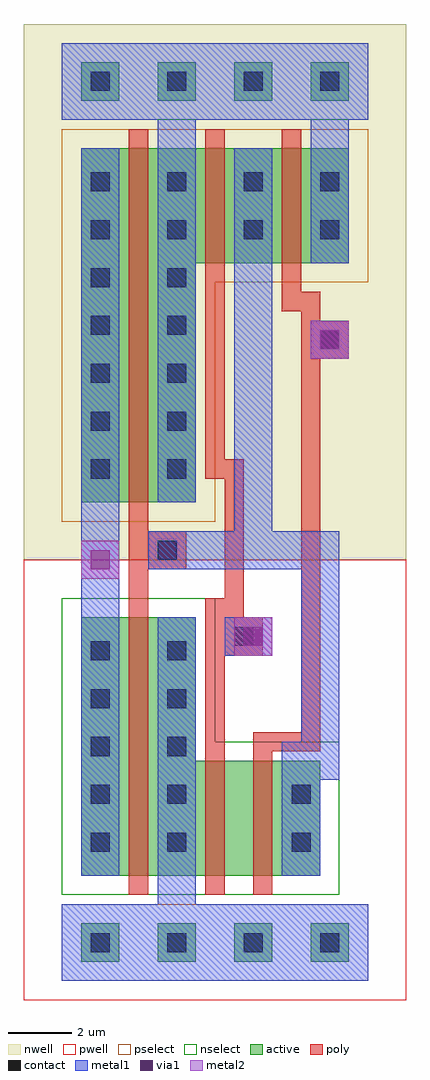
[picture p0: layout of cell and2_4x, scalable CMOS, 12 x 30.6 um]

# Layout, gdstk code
import gdstk
lib = gdstk.Library(unit=1e-6, precision=1e-09)
def R(c, l, rs):  # rectangles x0, y0, x1, y1
    for r in rs: c.add(gdstk.rectangle(r[:2], r[2:], *l))
def A(c, l, x, y, w, h, nx, ny, dx, dy):  # array of equal rectangles
    R(c, l, [(x+i*dx, y+j*dy, x+i*dx+w, y+j*dy+h) for i in range(nx) for j in range(ny)])
contact = (25, 0)
pwell = (41, 0)
nwell = (42, 0)
active = (43, 0)
pselect = (44, 0)
nselect = (45, 0)
poly = (46, 0)
metal1 = (49, 0)
via1 = (50, 0)
metal2 = (51, 0)

and2_4x = lib.new_cell('and2_4x')
A(and2_4x, contact, 0.3, -0.3, 0.6, 0.6, 4, 2, 2.4, 22.35)
A(and2_4x, contact, 0.3, 2.85, 0.6, 0.6, 1, 5, 0, 1.5)
A(and2_4x, contact, 2.7, 2.85, 0.6, 0.6, 1, 5, 0, 1.5)
A(and2_4x, contact, 0.3, 14.55, 0.6, 0.6, 1, 5, 0, 1.5)
A(and2_4x, contact, 2.7, 14.55, 0.6, 0.6, 1, 5, 0, 1.5)
A(and2_4x, contact, 0.3, 23.55, 0.6, 0.6, 4, 2, 2.4, 3.15)
R(and2_4x, contact, [(6.6,2.85,7.2,3.45), (6.6,4.35,7.2,4.95), (4.8,9.3,5.4,9.9), (2.4,12,3,12.6), (7.5,18.6,8.1,19.2)])
A(and2_4x, pwell, -0.9, -1.5, 3, 3, 4, 1, 2.4, 0)
R(and2_4x, pwell, [(-1.8,-1.8,10.2,12), (-1.8,0.3,3,12), (-1.2,0.3,4.8,12), (0.6,0.3,5.4,12), (1.2,0.3,7.2,7.5), (2.7,0.3,8.7,7.5), (4.5,0.3,9.3,7.5), (0.75,0.9,5.325,5.4), (4.575,1.35,9.15,5.85), (2.325,1.95,7.575,6.45), (0.675,4.35,5.25,8.85), (-1.65,4.65,2.925,9.15)])
A(and2_4x, nwell, -0.9, 25.5, 3, 3, 4, 1, 2.4, 0)
R(and2_4x, nwell, [(-1.8,12,3,26.7), (-1.8,12,10.2,28.8), (-1.2,12,4.8,26.7), (0.6,12,5.4,26.7), (-1.65,17.7,2.925,22.2), (0.675,17.7,5.25,22.2), (1.2,19.5,7.2,26.7), (3,19.5,7.8,26.7), (3.6,19.5,9.6,26.7), (5.4,19.5,10.2,26.7), (3.075,20.85,7.65,25.35), (3.15,20.85,7.725,25.35), (5.475,21.15,10.05,25.65), (0.75,22.2,5.325,26.7)])
A(and2_4x, active, 0, -0.6, 1.2, 1.2, 4, 2, 2.4, 27)
R(and2_4x, active, [(0,2.1,1.2,10.2), (0.6,2.1,3,10.2), (2.4,2.1,3.6,10.2), (3,2.1,5.4,5.7), (4.5,2.1,6.9,5.7), (6.3,2.1,7.5,5.7), (2.55,2.7,3.525,3.6), (6.375,3.15,7.35,4.05), (4.125,3.75,5.775,4.65), (2.475,6.15,3.45,7.05), (0.15,6.45,1.125,7.35), (0,13.8,1.2,24.9), (0.6,13.8,3,24.9), (2.4,13.8,3.6,24.9), (0.15,19.5,1.125,20.4), (2.475,19.5,3.45,20.4), (3,21.3,5.4,24.9), (4.8,21.3,6,24.9), (5.4,21.3,7.8,24.9), (7.2,21.3,8.4,24.9), (4.875,22.65,5.85,23.55), (4.95,22.65,5.925,23.55), (7.275,22.95,8.25,23.85), (2.55,24,3.525,24.9)])
A(and2_4x, pselect, -0.6, -1.2, 2.4, 2.4, 4, 1, 2.4, 0)
R(and2_4x, pselect, [(-0.6,13.2,1.8,25.5), (0,13.2,3.6,25.5), (1.8,13.2,4.2,25.5), (-0.45,18.9,1.725,21), (1.875,18.9,4.05,21), (2.4,20.7,6,25.5), (4.2,20.7,6.6,25.5), (4.8,20.7,8.4,25.5), (6.6,20.7,9,25.5), (4.275,22.05,6.45,24.15), (4.35,22.05,6.525,24.15), (6.675,22.35,8.85,24.45), (1.95,23.4,4.125,25.5)])
A(and2_4x, nselect, -0.6, 25.8, 2.4, 2.4, 4, 1, 2.4, 0)
R(and2_4x, nselect, [(-0.6,1.5,1.8,10.8), (0,1.5,3.6,10.8), (1.8,1.5,4.2,10.8), (2.4,1.5,6,6.3), (3.9,1.5,7.5,6.3), (5.7,1.5,8.1,6.3), (1.95,2.1,4.125,4.2), (5.775,2.55,7.95,4.65), (3.525,3.15,6.375,5.25), (1.875,5.55,4.05,7.65), (-0.45,5.85,1.725,7.95)])
R(and2_4x, poly, [(1.5,1.5,2.1,10.8), (3.9,1.5,4.5,6.3), (5.4,1.5,6,6.3), (3.9,6,4.5,9.9), (5.4,6,7.5,6.6), (6.9,6,7.5,19.2), (4.5,9,5.7,10.2), (3.9,9.3,5.4,9.9), (3.9,9.3,4.5,10.8), (3.9,10.2,5.1,10.8), (4.5,10.2,5.1,15.15), (1.5,10.5,2.1,12.6), (2.1,11.7,3.3,12.9), (1.5,12,3,12.6), (1.5,12,2.1,13.5), (1.5,13.2,2.1,25.5), (3.9,14.55,5.1,15.15), (3.9,14.55,4.5,21), (7.2,18.3,8.4,19.5), (6.9,18.6,8.1,19.2), (6.9,18.6,7.5,20.4), (6.3,19.8,6.9,21), (6.3,19.8,7.5,20.4), (3.9,20.7,4.5,25.5), (6.3,20.7,6.9,25.5)])
A(and2_4x, metal1, -0.6, -1.2, 4.8, 2.4, 3, 1, 2.4, 0)
A(and2_4x, metal1, 0, -0.6, 1.2, 1.2, 4, 2, 2.4, 27)
R(and2_4x, metal1, [(-0.6,-1.2,1.8,1.2), (-0.6,-1.2,4.2,1.2), (2.4,-0.6,3.6,3.3), (0,2.1,1.2,10.2), (2.4,2.1,3.6,10.2), (6.3,2.1,7.5,5.7), (6.3,3.3,7.5,6.3), (6.3,5.1,8.1,6.3), (6.9,5.1,8.1,12.9), (0,9,1.2,12.6), (4.5,9,5.7,10.2), (4.5,9,6,10.2), (4.8,9,6,10.2), (0,11.4,1.2,15), (0,11.4,1.2,12.6), (2.1,11.7,3.3,12.9), (2.1,11.7,6,12.9), (4.8,11.7,6,23.7), (4.8,11.7,8.1,12.9), (0,13.8,1.2,24.9), (2.4,13.8,3.6,24.9), (7.2,18.3,8.4,19.5), (7.2,18.3,8.4,19.5), (7.2,18.3,8.4,19.5), (4.8,21.3,6,24.9), (7.2,21.3,8.4,24.9), (2.4,23.7,3.6,27.6), (7.2,23.7,8.4,27.6), (-0.6,25.8,1.8,28.2), (-0.6,25.8,4.2,28.2), (1.8,25.8,9,28.2), (0,26.4,1.2,27.6), (0,26.4,1.2,27.6), (4.8,26.4,8.4,27.6), (7.2,26.4,8.4,27.6)])
R(and2_4x, via1, [(5.1,9.3,5.7,9.9), (0.3,11.7,0.9,12.3), (7.5,18.6,8.1,19.2)])
R(and2_4x, metal2, [(4.8,9,6,10.2), (0,11.4,1.2,12.6), (7.2,18.3,8.4,19.5)])

lib.write_gds('and2_4x.gds')
